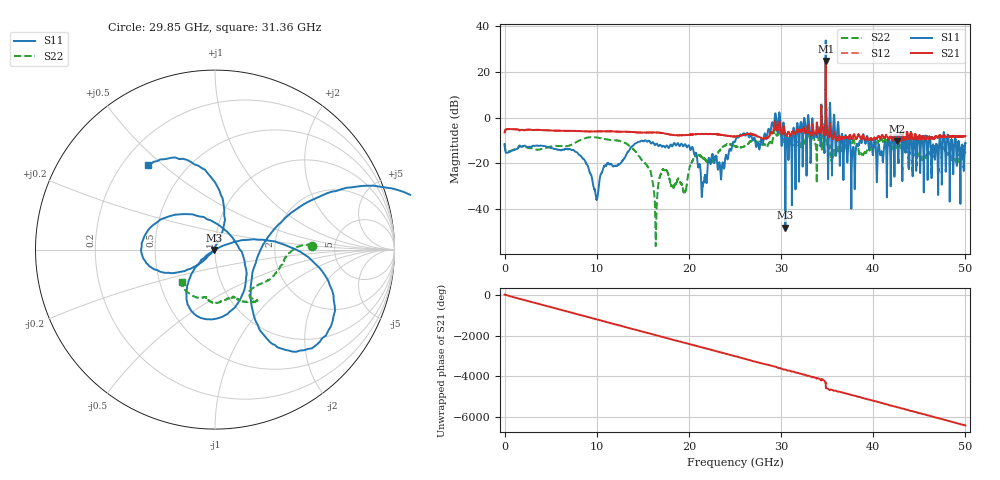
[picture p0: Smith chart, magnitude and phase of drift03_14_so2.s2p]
!Created with skrf (http://scikit-rf.org).
# Hz S RI R 50.0
!freq ReS11 ImS11 ReS21 ImS21 ReS12 ImS12 ReS22 ImS22
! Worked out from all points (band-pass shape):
!   10001 points, 300 kHz to 50 GHz, reference 50 ohm
!   highest |S21| = 24.67 dB at 34.85 GHz (marker M1); lowest = -10.4 dB at 42.56 GHz (marker M2)
!   |S21| within 3 dB of the highest: 34.84347 GHz to 34.84643 GHz (2.965 MHz wide, 0.00851 % of centre)
!   lowest |S11| = -48.0 dB at 30.47 GHz (marker M3), VSWR 1.01, Z = 49.7 - j0.224 ohm
!   |S11| at or under -10 dB: start of sweep to 15.22 GHz; 15.33 GHz to 25.05 GHz (9.726 GHz wide, 48.2 % of centre); 40.22 GHz to 41.64 GHz (1.423 GHz wide, 3.48 % of centre) (the widest 3 of 52)
!   |S22| runs from -56.1 to 15.7 dB; largest |S21 - S12| = 2.5
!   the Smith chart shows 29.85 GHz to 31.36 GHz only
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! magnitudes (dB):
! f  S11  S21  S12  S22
! 300 kHz  -11.5  -6.5  -6.5  -11.5
! 8.335 GHz  -17.1  -6.0  -6.0  -9.6
! 9.955 GHz  -35.5  -6.1  -6.1  -8.7
! 11 GHz  -20.9  -6.1  -6.1  -9.5
! 15.51 GHz  -10.5  -6.6  -6.6  -21.4
! 16.37 GHz  -11.9  -6.5  -6.5  -45.8
! 16.67 GHz  -12.4  -6.5  -6.5  -29.3
! 17.33 GHz  -12.7  -6.9  -6.9  -22.9
! 19.54 GHz  -11.7  -7.7  -7.7  -32.6
! 20.22 GHz  -13.9  -7.5  -7.5  -20.1
! 21.55 GHz  -28.5  -7.2  -7.2  -17.8
! 25 GHz  -10.6  -8.3  -8.2  -12.5
! 29.6 GHz  -5.6  -5.7  -5.9  -7.8
! 30.47 GHz  -48.0  -7.2  -7.2  -9.1
! 33.34 GHz  -3.8  -7.0  -6.9  -9.4
! 34.85 GHz  33.6  24.7  24.5  15.7
! 35.64 GHz  -5.8  -9.2  -9.0  -15.5
! 37.82 GHz  -12.8  -8.4  -8.4  -10.0
! 38.81 GHz  -9.6  -8.4  -8.4  -16.1
! 41.67 GHz  -9.7  -9.5  -9.4  -11.5
! 42.56 GHz  -8.6  -10.4  -10.4  -13.1
! 50 GHz  -11.1  -8.2  -8.2  -15.4
